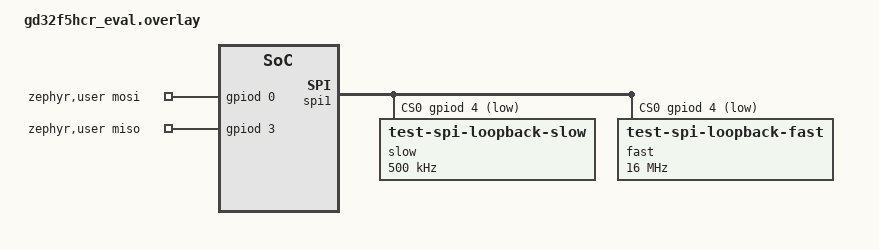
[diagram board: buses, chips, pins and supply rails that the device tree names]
/*
 * Copyright (c) 2026 GigaDevice Semiconductor Inc.
 *
 * SPDX-License-Identifier: Apache-2.0
 */

/*
 * SPI0 (PB3/PB5/PB4 + PA10 CS) is reserved for the on-board GD25Q16 NOR flash
 * used by the flash test, so the SPI loopback runs on SPI1 with a dedicated set
 * of free GPIOD pins:
 *   SCK  = PD2
 *   MOSI = PD0
 *   MISO = PD3
 * The fixture must short MOSI (PD0) to MISO (PD3) for the loopback transfers.
 */

/ {
	zephyr,user {
		/* PD0 (MOSI) is shorted to PD3 (MISO) for the deinit test. */
		mosi-gpios = <&gpiod 0 GPIO_ACTIVE_HIGH>;
		miso-gpios = <&gpiod 3 GPIO_ACTIVE_HIGH>;
	};
};

/* The NOR flash lives on SPI0; keep it out of the loopback build. */
&nor_flash {
	status = "disabled";
};

&pinctrl {
	spi1_default: spi1_default {
		group1 {
			pinmux = <SPI1_SCK_PD2>, <SPI1_MOSI_PD0>,
				 <SPI1_MISO_PD3>;
		};
	};
};

&spi1 {
	status = "okay";
	pinctrl-0 = <&spi1_default>;
	pinctrl-names = "default";
	cs-gpios = <&gpiod 4 GPIO_ACTIVE_LOW>;

	slow@0 {
		compatible = "test-spi-loopback-slow";
		reg = <0>;
		spi-max-frequency = <500000>;
	};

	fast@0 {
		compatible = "test-spi-loopback-fast";
		reg = <0>;
		spi-max-frequency = <16000000>;
	};
};
